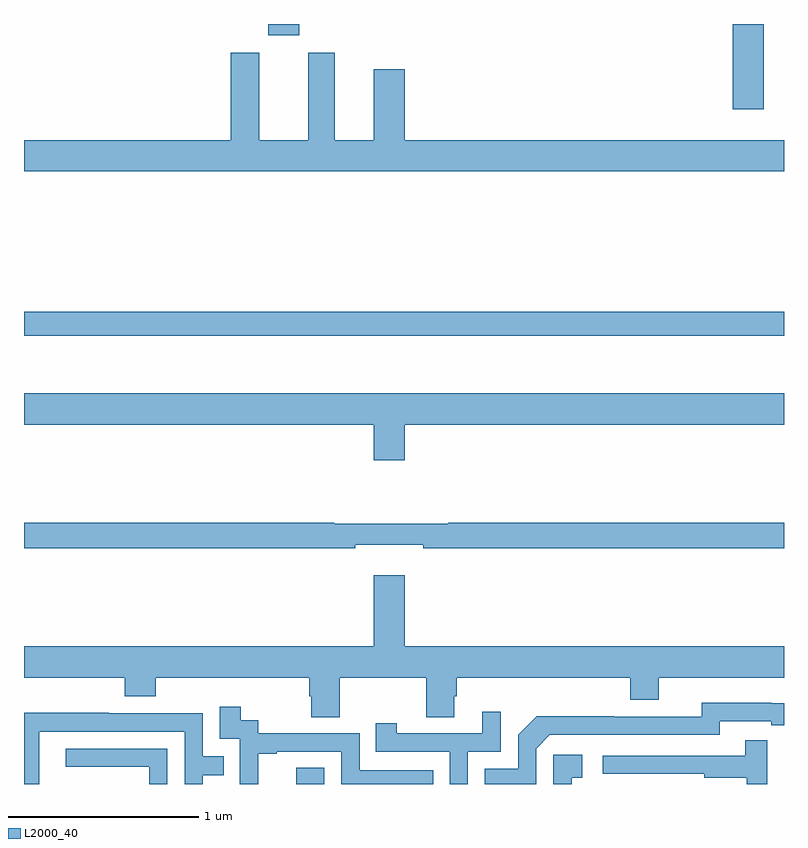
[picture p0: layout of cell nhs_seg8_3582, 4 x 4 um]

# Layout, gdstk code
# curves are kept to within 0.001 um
import gdstk
lib = gdstk.Library(unit=1e-6, precision=1e-09)
def R(c, l, rs):  # rectangles x0, y0, x1, y1
    for r in rs: c.add(gdstk.rectangle(r[:2], r[2:], *l))
def P(c, l, *ps):  # polygons
    for p in ps: c.add(gdstk.Polygon(p, *l))
L2000_40 = (2000, 40)

nhs_seg8_3582 = lib.new_cell('nhs_seg8_3582')
R(nhs_seg8_3582, L2000_40, [(332.433,1155.9,332.58,1155.985), (331,1158.258,335,1158.386), (334.73,1159.452,334.894,1159.9), (332.285,1159.842,332.449,1159.9)])
P(nhs_seg8_3582, L2000_40, [(335,1159.288),(333.004,1159.288),(333.004,1159.663),(332.84,1159.663),(332.84,1159.288),(332.635,1159.288),(332.635,1159.75),(332.495,1159.75),(332.495,1159.288),(332.239,1159.288),(332.239,1159.75),(332.087,1159.75),(332.087,1159.288),(331,1159.288),(331,1159.124),(335,1159.124)],
  [(331,1157.792),(332.84,1157.792),(332.84,1157.604),(333.004,1157.604),(333.004,1157.792),(335,1157.792),(335,1157.956),(331,1157.956)],
  [(332.744,1157.159),(333.1,1157.159),(333.1,1157.14),(335,1157.14),(335,1157.276),(333.233,1157.276),(333.233,1157.269),(332.633,1157.269),(332.633,1157.276),(331,1157.276),(331,1157.14),(332.744,1157.14)],
  [(331,1156.46),(331.529,1156.46),(331.529,1156.361),(331.694,1156.361),(331.694,1156.46),(332.501,1156.46),(332.501,1156.362),(332.513,1156.362),(332.513,1156.252),(332.661,1156.252),(332.661,1156.46),(333.118,1156.46),(333.118,1156.252),(333.265,1156.252),(333.265,1156.362),(333.278,1156.362),(333.278,1156.46),(334.19,1156.46),(334.19,1156.343),(334.342,1156.343),(334.342,1156.46),(335,1156.46),(335,1156.624),(333.004,1156.624),(333.004,1156.999),(332.84,1156.999),(332.84,1156.624),(331,1156.624)],
  [(333.696,1156.086),(333.768,1156.158),(334.662,1156.158),(334.662,1156.23),(334.934,1156.23),(334.934,1156.21),(335,1156.21),(335,1156.326),(334.566,1156.327),(334.566,1156.254),(334.106,1156.254),(334.106,1156.256),(333.698,1156.256),(333.6,1156.158),(333.6,1155.981),(333.426,1155.981),(333.426,1155.9),(333.696,1155.9)],
  [(332.234,1156.059),(332.329,1156.059),(332.329,1156.071),(332.67,1156.071),(332.67,1155.9),(333.155,1155.9),(333.155,1155.972),(332.766,1155.972),(332.766,1156.167),(332.232,1156.167),(332.232,1156.236),(332.14,1156.236),(332.14,1156.306),(332.031,1156.306),(332.031,1156.137),(332.136,1156.137),(332.136,1155.908),(332.135,1155.908),(332.135,1155.9),(332.234,1155.9)],
  [(333.336,1156.071),(333.51,1156.071),(333.51,1156.279),(333.413,1156.279),(333.413,1156.167),(332.962,1156.167),(332.962,1156.219),(332.851,1156.219),(332.851,1156.071),(333.24,1156.071),(333.24,1155.9),(333.336,1155.9)],
  [(331.08,1156.176),(331.845,1156.176),(331.845,1155.9),(331.941,1155.9),(331.941,1155.946),(332.051,1155.946),(332.051,1156.047),(331.941,1156.047),(331.941,1156.272),(331.445,1156.272),(331.445,1156.274),(331,1156.274),(331,1155.9),(331.08,1155.9)],
  [(334.913,1156.129),(334.795,1156.129),(334.795,1156.05),(334.047,1156.05),(334.047,1155.954),(334.579,1155.954),(334.579,1155.934),(334.803,1155.934),(334.803,1155.9),(334.913,1155.9)],
  [(331.755,1156.086),(331.221,1156.086),(331.221,1155.99),(331.659,1155.99),(331.659,1155.9),(331.755,1155.9)],
  [(333.884,1155.933),(333.937,1155.933),(333.937,1156.054),(333.786,1156.054),(333.786,1155.9),(333.884,1155.9)])

lib.write_gds('nhs_seg8_3582.gds')
